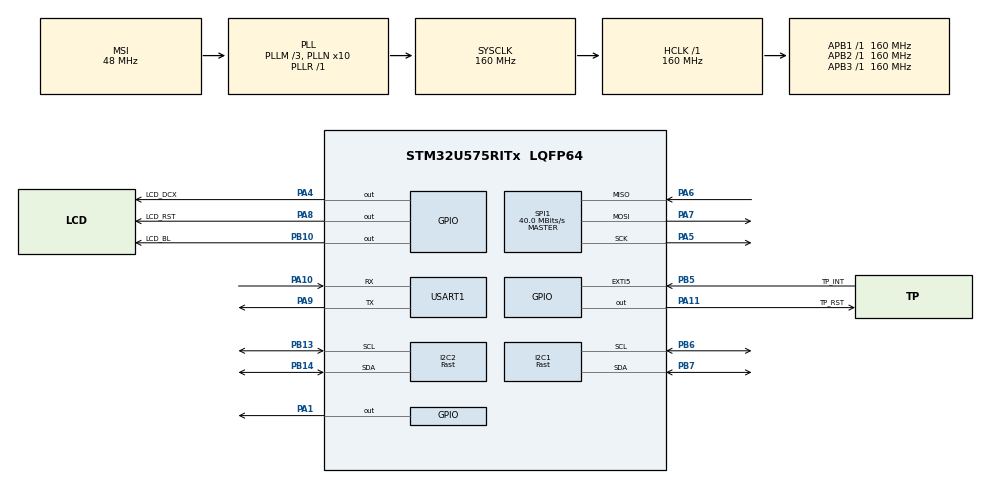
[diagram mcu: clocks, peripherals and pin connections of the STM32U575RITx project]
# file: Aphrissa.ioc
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CORTEX_M33_NS.userName=CORTEX_M33
GPDMA1.CIRCULARMODE_GPDMACH0=DISABLE
GPDMA1.DESTDATAWIDTH_GPDMACH0=DMA_DEST_DATAWIDTH_HALFWORD
GPDMA1.DIRECTION_GPDMACH0=DMA_MEMORY_TO_PERIPH
GPDMA1.IPHANDLE_GPDMACH0-SIMPLEREQUEST_GPDMACH0=__NULL
GPDMA1.PRIORITY_GPDMACH0=DMA_LOW_PRIORITY_HIGH_WEIGHT
GPDMA1.REQUEST_GPDMACH0=GPDMA1_REQUEST_SPI1_TX
GPDMA1.SRCDATAWIDTH_GPDMACH0=DMA_SRC_DATAWIDTH_HALFWORD
GPDMA1.SRCINC_GPDMACH0=DMA_SINC_INCREMENTED
GPDMA1.TRANSFERALLOCATEDPORTDEST_GPDMACH0=DMA_DEST_ALLOCATED_PORT1
GPDMA1.TRANSFERALLOCATEDPORTSRC_GPDMACH0=DMA_SRC_ALLOCATED_PORT1
I2C1.I2C_Speed_Mode=I2C_Fast
I2C1.Timing=0x00F07BFF
I2C2.I2C_Speed_Mode=I2C_Fast
I2C2.Timing=0x00F07BFF
Mcu.Family=STM32U5
Mcu.Name=STM32U575RITx
Mcu.Package=LQFP64
NVIC.EXTI5_IRQn=true\:10\:0\:true\:false\:true\:true\:true\:true
NVIC.GPDMA1_Channel0_IRQn=true\:0\:0\:false\:false\:true\:false\:true\:true
NVIC.PriorityGroup=NVIC_PRIORITYGROUP_4
NVIC.RTC_IRQn=true\:0\:0\:false\:false\:true\:true\:true\:true
NVIC.SPI1_IRQn=true\:0\:0\:false\:false\:true\:true\:true\:true
NVIC.TIM3_IRQn=true\:1\:0\:true\:false\:true\:true\:true\:true
PA1.PinState=GPIO_PIN_SET
PA1.Signal=GPIO_Output
PA10.Mode=Asynchronous
PA10.Signal=USART1_RX
PA11.GPIO_Label=TP_RST
PA11.Signal=GPIO_Output
PA4.GPIO_Label=LCD_DCX
PA4.GPIO_Speed=GPIO_SPEED_FREQ_VERY_HIGH
PA4.Signal=GPIO_Output
PA5.GPIO_Speed=GPIO_SPEED_FREQ_VERY_HIGH
PA5.Mode=Full_Duplex_Master
PA5.Signal=SPI1_SCK
PA6.GPIO_Speed=GPIO_SPEED_FREQ_VERY_HIGH
PA6.Mode=Full_Duplex_Master
PA6.Signal=SPI1_MISO
PA7.GPIO_Speed=GPIO_SPEED_FREQ_VERY_HIGH
PA7.Mode=Full_Duplex_Master
PA7.Signal=SPI1_MOSI
PA8.GPIO_Label=LCD_RST
PA8.GPIO_ModeDefaultOutputPP=GPIO_MODE_OUTPUT_OD
PA8.GPIO_PuPd=GPIO_NOPULL
PA8.Signal=GPIO_Output
PA9.Mode=Asynchronous
PA9.Signal=USART1_TX
PB10.GPIO_Label=LCD_BL
PB10.PinState=GPIO_PIN_SET
PB10.Signal=GPIO_Output
PB13.Mode=I2C
PB13.Signal=I2C2_SCL
PB14.Mode=I2C
PB14.Signal=I2C2_SDA
PB5.GPIO_Label=TP_INT
PB5.GPIO_ModeDefaultEXTI=GPIO_MODE_IT_RISING_FALLING
PB5.GPIO_PuPd=GPIO_PULLUP
PB5.Signal=GPXTI5
PB6.Mode=I2C
PB6.Signal=I2C1_SCL
PB7.Mode=I2C
PB7.Signal=I2C1_SDA
PC14-OSC32_IN\ (PC14).Mode=LSE-External-Oscillator
PC14-OSC32_IN\ (PC14).Signal=RCC_OSC32_IN
PC15-OSC32_OUT\ (PC15).Mode=LSE-External-Oscillator
PC15-OSC32_OUT\ (PC15).Signal=RCC_OSC32_OUT
ProjectManager.HeapSize=0x200
ProjectManager.StackSize=0x400
ProjectManager.TargetToolchain=CMake
RCC.ADCFreq_Value=16000000
RCC.AHBFreq_Value=160000000
RCC.APB1Freq_Value=160000000
RCC.APB1TimFreq_Value=160000000
RCC.APB2Freq_Value=160000000
RCC.APB2TimFreq_Value=160000000
RCC.APB3Freq_Value=160000000
RCC.CortexFreq_Value=160000000
RCC.EPOD_VALUE=48000000
RCC.HCLKFreq_Value=160000000
RCC.HSE_VALUE=16000000
RCC.HSI48_VALUE=48000000
RCC.HSI_VALUE=16000000
RCC.LSIDIV_VALUE=32000
RCC.MSIClockRange=RCC_MSIRANGE_0
RCC.MSI_VALUE=48000000
RCC.PLL1R=1
RCC.PLL2FRACN=0
RCC.PLL3FRACN=0
RCC.PLLFRACN=0
RCC.PLLM=3
RCC.PLLN=10
RCC.RTCClockSelection=RCC_RTCCLKSOURCE_LSE
RCC.SYSCLKFreq_VALUE=160000000
RCC.SYSCLKSource=RCC_SYSCLKSOURCE_PLLCLK
RCC.USBFreq_Value=48000000
RCC.VCOOutputFreq_Value=160000000
RTC.Alarm-Alarm\ A=RTC_ALARM_A
SPI1.BaudRatePrescaler=SPI_BAUDRATEPRESCALER_4
SPI1.CalculateBaudRate=40.0 MBits/s
SPI1.DataSize=SPI_DATASIZE_8BIT
SPI1.Direction=SPI_DIRECTION_2LINES
SPI1.Mode=SPI_MODE_MASTER
SPI1.VirtualType=VM_MASTER
STMicroelectronics.X-CUBE-TOUCHGFX.4.26.1.ApplicationCcGraphicsJjApplication=TouchGFXOoGenerator
STMicroelectronics.X-CUBE-TOUCHGFX.4.26.1.tgfx_custom_height=240
STMicroelectronics.X-CUBE-TOUCHGFX.4.26.1.tgfx_custom_width=240
STMicroelectronics.X-CUBE-TOUCHGFX.4.26.1_IsPackSelfContextualization=true
TIM3.PeriodNoDither=999
TIM3.Prescaler=159
USART1.VirtualMode-Asynchronous=VM_ASYNC
VP_CRC_VS_CRC.Mode=CRC_Activate
VP_GPDMA1_VS_GPDMACH0.Mode=SIMPLEREQUEST_GPDMACH0
VP_LPBAMQUEUE_VS_QUEUE.Mode=QUEUEMODE
VP_LPBAM_VS_SIG1.Mode=SmartRun
VP_LPBAM_VS_SIG4.Mode=LPDMA1
VP_MEMORYMAP_VS_MEMORYMAP.Mode=CurAppReg
VP_PWR_VS_SECSignals.Mode=Security/Privilege
VP_RNG_VS_RNG.Mode=RNG_Activate
VP_RTC_VS_RTC_Activate.Mode=RTC_Enabled
VP_RTC_VS_RTC_Alarm_A_Intern.Mode=Alarm A
VP_RTC_VS_RTC_Calendar.Mode=RTC_Calendar
VP_STMicroelectronics.X-CUBE-TOUCHGFX_VS_GraphicsJjApplication_4.26.1.Mode=GraphicsJjApplication
VP_TIM3_VS_ClockSourceINT.Mode=Internal
board=custom

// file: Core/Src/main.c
/* USER CODE BEGIN Header */
/**
 ******************************************************************************
 * @file           : main.c
 * @brief          : Main program body
 ******************************************************************************
 * @attention
 *
 * Copyright (c) 2026 STMicroelectronics.
 * All rights reserved.
 *
 * This software is licensed under terms that can be found in the LICENSE file
 * in the root directory of this software component.
 * If no LICENSE file comes with this software, it is provided AS-IS.
 *
 ******************************************************************************
 */
/* USER CODE END Header */
#include "main.h"
#include "app_touchgfx.h"
#include "crc.h"
#include "gpdma.h"
#include "gpio.h"
#include "i2c.h"
#include "rng.h"
#include "rtc.h"
#include "spi.h"
#include "tim.h"
#include "usart.h"

/* USER CODE BEGIN Includes */
#include "alarm_service.h"
#include "backlight_service.h"
#include "brightness_mode.h"
#include "bsp_ft6336.h"
#include "bsp_ili9341_4line.h"
#include "max30102_for_stm32_hal.h"
#include "max30102_service.h"
#include "motion_service.h"
#include "time_service.h"
#include "veml7700.h"

/* USER CODE END Includes */

/* USER CODE BEGIN PV */
static veml7700_t g_veml;
static uint8_t g_als_valid = 0;
static uint16_t g_als_raw = 0;
static float g_als_lux = 0.0f;
/* USER CODE END PV */

void SystemClock_Config(void);

/* USER CODE BEGIN 0 */

/* 扫描指定 I2C 总线: 打印所有有应答的从机地址(7位地址)。 */
static void i2c_scan(const char *tag, I2C_HandleTypeDef *hi2c) {
  printf("[%s] scanning 0x01..0x7F ...\r\n", tag);
  uint8_t found = 0;
  for (uint16_t addr = 0x01; addr <= 0x7F; addr++) {
    if (HAL_I2C_IsDeviceReady(hi2c, (uint16_t)(addr << 1), 2, 10) == HAL_OK) {
      printf("[%s] device @ 0x%02X (write 0x%02X)\r\n", tag, addr, addr << 1);
      found++;
    }
  }
  if (found == 0) {
    printf("[%s] NO device responded (check wiring/power/pull-ups)\r\n", tag);
  } else {
    printf("[%s] %u device(s) found\r\n", tag, (unsigned)found);
  }
}

/* USER CODE END 0 */

int main(void) {

  /* MCU Configuration--------------------------------------------------------*/

  /* Reset of all peripherals, Initializes the Flash interface and the Systick.
   */
  HAL_Init();

  /* Configure the system clock */
  SystemClock_Config();

  /* Initialize all configured peripherals */
  MX_GPIO_Init();
  MX_GPDMA1_Init();
  MX_I2C1_Init();
  MX_SPI1_Init();
  MX_CRC_Init();
  MX_USART1_UART_Init();
  MX_TIM3_Init();
  MX_RNG_Init();
  MX_I2C2_Init();
  MX_RTC_Init();
  MX_TouchGFX_Init();
  /* USER CODE BEGIN 2 */
  Backlight_Init(); /* 背光软件PWM接管 PB10 (随后由环境光控制) */
  ILI9341_Init();   /* 显示屏初始化 (2.8寸 ILI9341, 4线SPI) */
  FT6336_init();    /* 触摸屏初始化 (FT6336, TP_RST=PA11) */
  MotionService_Init(&hi2c1);
  USART1_StartRx(); /* 开启串口接收中断, 等待校时帧 */
  HAL_TIM_Base_Start_IT(
      &htim3); /* 启动 TIM3 硬件时基(1ms): VSYNC/心跳/全局走时 */
  /* VEML7700 临时挂到 I2C2 排查: 排除 I2C3 接线问题, 验证传感器好坏 */
  if (veml7700_init(&g_veml, &hi2c2)) {
    g_als_valid = 1;
  } else {
    printf("[LUX] init FAILED (I2C2) err=%d\r\n", (int)g_veml.last_status);
  }
  i2c_scan(
      "I2C2",
      &hi2c2); /* 调试: 扫描 I2C2, 应看到 0x57(MAX30102) 和 0x10(VEML7700) */

  /* USER CODE END 2 */

  /* Infinite loop */
  /* USER CODE BEGIN WHILE */
  while (1) {
    /* 传感器/熄屏判断: 跟随 33ms 节拍运行, 避免主循环空转时全速读 I2C */
    static uint32_t last_update = 0;
    uint32_t now = MotionService_GetTime();
    if ((uint32_t)(now - last_update) >= 33u) {
      last_update = now;
      MotionService_Update(); /* MPU 抬手/熄屏判断 (时间源 = TIM3 hw_ms) */
    }
    Max30102_Update();              /* 读心率血氧 FIFO (内部 20ms 节流) */
    TimeService_PollPendingFrame(); /* 串口校时: 有完整行则解析写 RTC */
    /* 光照传感器 VEML7700 (I2C3): 500ms 周期读一次 */
    static uint32_t last_lux = 0;
    if (g_als_valid && (uint32_t)(now - last_lux) >= 500u) {
      last_lux = now;
      uint16_t raw = veml7700_read_als(&g_veml);
      if (g_veml.last_status == HAL_OK) {
        g_als_raw = raw;
        g_als_lux = veml7700_compute_lux(&g_veml, raw);
        MotionService_SetAmbientLux(
            g_als_lux); /* 环境光 -> 背光亮度 (自动模式生效) */
        veml7700_debug_print(&g_veml, raw, g_als_lux); /* 串口调试输出 */
      } else {
        printf("[LUX] read FAILED err=%d\r\n", (int)g_veml.last_status);
      }
    }
    /* 手动模式: 主循环直接把滑条值同步到背光 (自动模式由环境光驱动, 不覆盖) */
    if (Brightness_GetMode() == BRIGHT_MODE_MANUAL &&
        MotionService_IsScreenOn()) {
      Backlight_SetUserBrightness(Brightness_GetManualValue());
    }
    AlarmService_Tick(); /* 响铃: 强制亮屏 + 超时自动停止 */
    /* USER CODE END WHILE */

    MX_TouchGFX_Process();
  }
}

void SystemClock_Config(void) {
  RCC_OscInitTypeDef RCC_OscInitStruct = {0};
  RCC_ClkInitTypeDef RCC_ClkInitStruct = {0};

  /** Configure the main internal regulator output voltage
   */
  if (HAL_PWREx_ControlVoltageScaling(PWR_REGULATOR_VOLTAGE_SCALE1) != HAL_OK) {
    Error_Handler();
  }

  /** Configure LSE Drive Capability
   */
  HAL_PWR_EnableBkUpAccess();
  __HAL_RCC_LSEDRIVE_CONFIG(RCC_LSEDRIVE_LOW);

  /** Initializes the CPU, AHB and APB buses clocks
   */
  RCC_OscInitStruct.OscillatorType = RCC_OSCILLATORTYPE_HSI48 |
                                     RCC_OSCILLATORTYPE_LSE |
                                     RCC_OSCILLATORTYPE_MSI;
  RCC_OscInitStruct.LSEState = RCC_LSE_ON;
  RCC_OscInitStruct.HSI48State = RCC_HSI48_ON;
  RCC_OscInitStruct.MSIState = RCC_MSI_ON;
  RCC_OscInitStruct.MSICalibrationValue = RCC_MSICALIBRATION_DEFAULT;
  RCC_OscInitStruct.MSIClockRange = RCC_MSIRANGE_0;
  RCC_OscInitStruct.PLL.PLLState = RCC_PLL_ON;
  RCC_OscInitStruct.PLL.PLLSource = RCC_PLLSOURCE_MSI;
  RCC_OscInitStruct.PLL.PLLMBOOST = RCC_PLLMBOOST_DIV4;
  RCC_OscInitStruct.PLL.PLLM = 3;
  RCC_OscInitStruct.PLL.PLLN = 10;
  RCC_OscInitStruct.PLL.PLLP = 2;
  RCC_OscInitStruct.PLL.PLLQ = 2;
  RCC_OscInitStruct.PLL.PLLR = 1;
  RCC_OscInitStruct.PLL.PLLRGE = RCC_PLLVCIRANGE_1;
  RCC_OscInitStruct.PLL.PLLFRACN = 0;
  if (HAL_RCC_OscConfig(&RCC_OscInitStruct) != HAL_OK) {
    Error_Handler();
  }

  /** Initializes the CPU, AHB and APB buses clocks
   */
  RCC_ClkInitStruct.ClockType = RCC_CLOCKTYPE_HCLK | RCC_CLOCKTYPE_SYSCLK |
                                RCC_CLOCKTYPE_PCLK1 | RCC_CLOCKTYPE_PCLK2 |
                                RCC_CLOCKTYPE_PCLK3;
  RCC_ClkInitStruct.SYSCLKSource = RCC_SYSCLKSOURCE_PLLCLK;
  RCC_ClkInitStruct.AHBCLKDivider = RCC_SYSCLK_DIV1;
  RCC_ClkInitStruct.APB1CLKDivider = RCC_HCLK_DIV1;
  RCC_ClkInitStruct.APB2CLKDivider = RCC_HCLK_DIV1;
  RCC_ClkInitStruct.APB3CLKDivider = RCC_HCLK_DIV1;

  if (HAL_RCC_ClockConfig(&RCC_ClkInitStruct, FLASH_LATENCY_4) != HAL_OK) {
    Error_Handler();
  }
}

/* USER CODE BEGIN 4 */
int __io_putchar(int ch) {
  HAL_UART_Transmit(&huart1, (uint8_t *)&ch, 1, HAL_MAX_DELAY);
  return ch;
}

/* ── 触摸中断 (TP_INT = PB5, EXTI5) ── */
static uint8_t tp_pressed = 0;

void HAL_GPIO_EXTI_Falling_Callback(uint16_t GPIO_Pin) {
  /* 触摸按下: 记录状态 + 刷新亮屏计时(操作时不熄屏) */
  if (GPIO_Pin == TP_INT_Pin) {
    /* 防误触: 屏幕熄灭时, 本次触摸只用于唤醒, 不产生 UI 触摸事件
       (tp_pressed 不置位 → 松手时不会调 FT6336_irq_fuc → TouchGFX 收不到) */
    if (MotionService_IsScreenOn()) {
      tp_pressed = 1;
    }
    MotionService_OnTouchActivity(); /* 触摸活动始终记录: 用于唤醒/刷新熄屏计时
                                      */
  }
}

void HAL_GPIO_EXTI_Rising_Callback(uint16_t GPIO_Pin) {
  /* 触摸释放: 通知 FT6336 产生触摸事件 + 刷新亮屏计时 */
  if (GPIO_Pin == TP_INT_Pin) {
    if (tp_pressed) {
      FT6336_irq_fuc();
      tp_pressed = 0;
    }
    MotionService_OnTouchActivity();
  }
}
/* USER CODE END 4 */

void Error_Handler(void) {
  __disable_irq();
  while (1) {
  }
}
#ifdef USE_FULL_ASSERT
/**
 * @brief  Reports the name of the source file and the source line number
 *         where the assert_param error has occurred.
 * @param  file: pointer to the source file name
 * @param  line: assert_param error line source number
 * @retval None
 */
void assert_failed(uint8_t *file, uint32_t line) {
  /* USER CODE BEGIN 6 */
  /* User can add his own implementation to report the file name and line
     number, ex: printf("Wrong parameters value: file %s on line %d\r\n", file,
     line) */
  /* USER CODE END 6 */
}
#endif /* USE_FULL_ASSERT */
